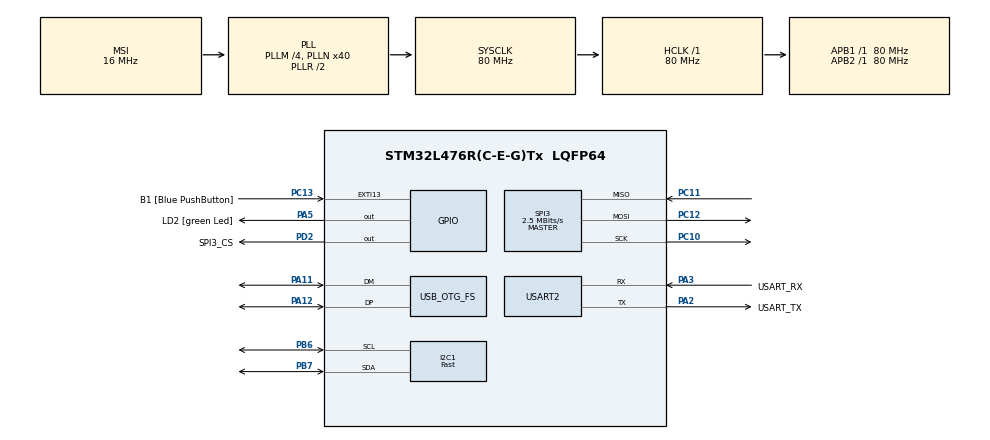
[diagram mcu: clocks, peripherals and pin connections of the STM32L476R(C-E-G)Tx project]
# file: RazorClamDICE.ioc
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I2C1.I2C_Speed_Mode=I2C_Fast
I2C1.Timing=0x00702991
Mcu.Family=STM32L4
Mcu.Name=STM32L476R(C-E-G)Tx
Mcu.Package=LQFP64
NVIC.OTG_FS_IRQn=true\:0\:0\:false\:false\:true
NVIC.PriorityGroup=NVIC_PRIORITYGROUP_4
NVIC.TIM1_UP_TIM16_IRQn=true\:0\:0\:false\:false\:true
NVIC.TimeBase=TIM1_UP_TIM16_IRQn
NVIC.TimeBaseIP=TIM1
PA11.Mode=Device_Only
PA11.Signal=USB_OTG_FS_DM
PA12.Mode=Device_Only
PA12.Signal=USB_OTG_FS_DP
PA13.GPIO_Label=TMS
PA13.Mode=Trace_Asynchronous_SW
PA13.Signal=SYS_JTMS-SWDIO
PA14.GPIO_Label=TCK
PA14.Mode=Trace_Asynchronous_SW
PA14.Signal=SYS_JTCK-SWCLK
PA2.GPIO_Label=USART_TX
PA2.GPIO_Mode=GPIO_MODE_AF_PP
PA2.GPIO_PuPd=GPIO_NOPULL
PA2.GPIO_Speed=GPIO_SPEED_FREQ_VERY_HIGH
PA2.Mode=Asynchronous
PA2.Signal=USART2_TX
PA3.GPIO_Label=USART_RX
PA3.GPIO_Mode=GPIO_MODE_AF_PP
PA3.GPIO_PuPd=GPIO_NOPULL
PA3.GPIO_Speed=GPIO_SPEED_FREQ_VERY_HIGH
PA3.Mode=Asynchronous
PA3.Signal=USART2_RX
PA5.GPIO_Label=LD2 [green Led]
PA5.GPIO_ModeDefaultOutputPP=GPIO_MODE_OUTPUT_PP
PA5.GPIO_PuPd=GPIO_NOPULL
PA5.GPIO_Speed=GPIO_SPEED_FREQ_LOW
PA5.Signal=GPIO_Output
PB3.GPIO_Label=SWO
PB3.Mode=Trace_Asynchronous_SW
PB3.Signal=SYS_JTDO-SWO
PB6.Mode=I2C
PB6.Signal=I2C1_SCL
PB7.Mode=I2C
PB7.Signal=I2C1_SDA
PC10.Mode=Full_Duplex_Master
PC10.Signal=SPI3_SCK
PC11.Mode=Full_Duplex_Master
PC11.Signal=SPI3_MISO
PC12.Mode=Full_Duplex_Master
PC12.Signal=SPI3_MOSI
PC13.GPIO_Label=B1 [Blue PushButton]
PC13.GPIO_ModeDefaultEXTI=GPIO_MODE_IT_FALLING
PC13.GPIO_PuPd=GPIO_PULLUP
PC13.Signal=GPXTI13
PC14/OSC32_IN.Signal=RCC_OSC32_IN
PC15/OSC32_OUT.Signal=RCC_OSC32_OUT
PD2.GPIO_Label=SPI3_CS
PD2.GPIO_PuPd=GPIO_PULLUP
PD2.Signal=GPIO_Output
PH0/OSC_IN.Signal=RCC_OSC_IN
PH1/OSC_OUT.Signal=RCC_OSC_OUT
ProjectManager.HeapSize=0x8000
ProjectManager.StackSize=0x8000
ProjectManager.TargetToolchain=MDK-ARM V5
RCC.ADCFreq_Value=48000000
RCC.AHBFreq_Value=80000000
RCC.APB1Freq_Value=80000000
RCC.APB1TimFreq_Value=80000000
RCC.APB2Freq_Value=80000000
RCC.APB2TimFreq_Value=80000000
RCC.CortexFreq_Value=80000000
RCC.HCLKFreq_Value=80000000
RCC.HSE_VALUE=8000000
RCC.HSI_VALUE=16000000
RCC.LSE_VALUE=32768
RCC.MSIClockRange=RCC_MSIRANGE_8
RCC.MSI_VALUE=16000000
RCC.PLLM=4
RCC.PLLN=40
RCC.PLLSAI1N=24
RCC.PREFETCH_ENABLE=1
RCC.RTCClockSelection=RCC_RTCCLKSOURCE_LSE
RCC.SYSCLKFreq_VALUE=80000000
RCC.SYSCLKSource=RCC_SYSCLKSOURCE_PLLCLK
RCC.USBFreq_Value=48000000
RCC.VCOOutputFreq_Value=160000000
SPI3.BaudRatePrescaler=SPI_BAUDRATEPRESCALER_32
SPI3.CalculateBaudRate=2.5 MBits/s
SPI3.Mode=SPI_MODE_MASTER
USART2.WordLength=UART_WORDLENGTH_8B
USB_DEVICE.CLASS_NAME_FS=DFU
USB_DEVICE.VirtualModeFS=Dfu_FS
USB_OTG_FS.VirtualMode=Device_Only
USB_OTG_FS.vbus_sensing_enable=DISABLE
VP_RNG_VS_RNG.Mode=RNG_Activate
VP_SYS_VS_tim1.Mode=TIM1
VP_USB_DEVICE_VS_USB_DEVICE_DFU_FS.Mode=DFU_FS
board=NUCLEO-L476RG

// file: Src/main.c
/**
  ******************************************************************************
  * File Name          : main.c
  * Description        : Main program body
  ******************************************************************************
  *
  * Copyright (c) 2017 STMicroelectronics International N.V.
  * All rights reserved.
  *
  * Redistribution and use in source and binary forms, with or without
  * modification, are permitted, provided that the following conditions are met:
  *
  * 1. Redistribution of source code must retain the above copyright notice,
  *    this list of conditions and the following disclaimer.
  * 2. Redistributions in binary form must reproduce the above copyright notice,
  *    this list of conditions and the following disclaimer in the documentation
  *    and/or other materials provided with the distribution.
  * 3. Neither the name of STMicroelectronics nor the names of other
  *    contributors to this software may be used to endorse or promote products
  *    derived from this software without specific written permission.
  * 4. This software, including modifications and/or derivative works of this
  *    software, must execute solely and exclusively on microcontroller or
  *    microprocessor devices manufactured by or for STMicroelectronics.
  * 5. Redistribution and use of this software other than as permitted under
  *    this license is void and will automatically terminate your rights under
  *    this license.
  *
  * THIS SOFTWARE IS PROVIDED BY STMICROELECTRONICS AND CONTRIBUTORS "AS IS"
  * AND ANY EXPRESS, IMPLIED OR STATUTORY WARRANTIES, INCLUDING, BUT NOT
  * LIMITED TO, THE IMPLIED WARRANTIES OF MERCHANTABILITY, FITNESS FOR A
  * PARTICULAR PURPOSE AND NON-INFRINGEMENT OF THIRD PARTY INTELLECTUAL PROPERTY
  * RIGHTS ARE DISCLAIMED TO THE FULLEST EXTENT PERMITTED BY LAW. IN NO EVENT
  * SHALL STMICROELECTRONICS OR CONTRIBUTORS BE LIABLE FOR ANY DIRECT, INDIRECT,
  * INCIDENTAL, SPECIAL, EXEMPLARY, OR CONSEQUENTIAL DAMAGES (INCLUDING, BUT NOT
  * LIMITED TO, PROCUREMENT OF SUBSTITUTE GOODS OR SERVICES; LOSS OF USE, DATA,
  * OR PROFITS; OR BUSINESS INTERRUPTION) HOWEVER CAUSED AND ON ANY THEORY OF
  * LIABILITY, WHETHER IN CONTRACT, STRICT LIABILITY, OR TORT (INCLUDING
  * NEGLIGENCE OR OTHERWISE) ARISING IN ANY WAY OUT OF THE USE OF THIS SOFTWARE,
  * EVEN IF ADVISED OF THE POSSIBILITY OF SUCH DAMAGE.
  *
  ******************************************************************************
  */
#include "main.h"
#include "stm32l4xx_hal.h"
#include "usb_device.h"

/* USER CODE BEGIN Includes */
#include <assert.h>
#include "TisTpmDrv.h"
#include "Test.h"
#define RAZORCLAMVERSION "V2.01"
#define SPECIFIC_CYCLE_DELAY (64)
#define DEFAULT_FILE_HANDLE_STDOUT (1)
#define DEFAULT_FILE_HANDLE_STDIN (2)
#define DEFAULT_FILE_HANDLE_STDERR (3)
#define DEFAULT_FILE_HANDLE_WIFI (4)
struct __FILE { int handle; };
/* USER CODE END Includes */

I2C_HandleTypeDef hi2c1;

RNG_HandleTypeDef hrng;

SPI_HandleTypeDef hspi3;

UART_HandleTypeDef huart2;

/* USER CODE BEGIN PV */
/* Private variables ---------------------------------------------------------*/
FILE __stdout = {DEFAULT_FILE_HANDLE_STDOUT};
FILE __stdin = {DEFAULT_FILE_HANDLE_STDIN};
FILE __stderr = {DEFAULT_FILE_HANDLE_STDERR};
FILE __wifi = {DEFAULT_FILE_HANDLE_WIFI};
/* USER CODE END PV */

void SystemClock_Config(void);
void Error_Handler(void);
static void MX_GPIO_Init(void);
static void MX_RNG_Init(void);
static void MX_USART2_UART_Init(void);
static void MX_I2C1_Init(void);
static void MX_SPI3_Init(void);

/* USER CODE BEGIN PFP */
/* Private function prototypes -----------------------------------------------*/

/* USER CODE END PFP */

/* USER CODE BEGIN 0 */
#ifndef NDEBUG
int fputc(int ch, FILE *f)
{
    if((f->handle == DEFAULT_FILE_HANDLE_STDOUT) || (f->handle == DEFAULT_FILE_HANDLE_STDERR))
    {
        while(HAL_UART_Transmit(&huart2, (uint8_t*)&ch, sizeof(uint8_t), HAL_MAX_DELAY) == HAL_BUSY);
        return ch;
    }

    return -1;
}

int fgetc(FILE *f)
{
    if(f->handle == DEFAULT_FILE_HANDLE_STDIN)
    {
        int ch = 0;
        while(HAL_UART_Receive(&huart2, (uint8_t*)&ch, sizeof(uint8_t), HAL_MAX_DELAY) == HAL_BUSY);
        return ch;
    }

    return -1;
}

#endif //#ifndef NDEBUG
void __aeabi_assert(const char *expr, const char *file, int line)
{
    FULLSTOP(expr);
    for(;;);
}
/* USER CODE END 0 */

int main(void)
{

  /* MCU Configuration----------------------------------------------------------*/

  /* Reset of all peripherals, Initializes the Flash interface and the Systick. */
  HAL_Init();

  /* Configure the system clock */
  SystemClock_Config();

  /* Initialize all configured peripherals */
  MX_GPIO_Init();
  MX_RNG_Init();
  MX_USB_DEVICE_Init();
  MX_USART2_UART_Init();
  MX_I2C1_Init();
  MX_SPI3_Init();

  /* USER CODE BEGIN 2 */
  printf("RazorClamDICE, %s built %s %s\r\n", RAZORCLAMVERSION, (char*)&__DATE__, (char*)&__TIME__);
#ifdef TISI2C
#ifdef SPECIFIC_CYCLE_DELAY
  TpmAdjustSpinWait(SPECIFIC_CYCLE_DELAY);
#else
  DebugPrintf("ADD: #define SPECIFIC_CYCLE_DELAY (%d)\r\n", TpmAdjustSpinWait(DETECT_CYCLE_DELAY));
#endif
#endif

  // Make sure we have a TPM, not having one is fatal
  uint32_t retVal = 0;
  if((retVal = DetectTpm()) != HAL_OK)
  {
      FULLSTOP("No TPM found!");
  }
  assert(retVal == HAL_OK);
  DebugPrintf("TPM available and ready.\r\n");

  testme();
  /* USER CODE END 2 */

  /* Infinite loop */
  while (1)
  {

  }

}

/** System Clock Configuration
*/
void SystemClock_Config(void)
{

  RCC_OscInitTypeDef RCC_OscInitStruct;
  RCC_ClkInitTypeDef RCC_ClkInitStruct;
  RCC_PeriphCLKInitTypeDef PeriphClkInit;

    /**Initializes the CPU, AHB and APB busses clocks
    */
  RCC_OscInitStruct.OscillatorType = RCC_OSCILLATORTYPE_MSI;
  RCC_OscInitStruct.MSIState = RCC_MSI_ON;
  RCC_OscInitStruct.MSICalibrationValue = 0;
  RCC_OscInitStruct.MSIClockRange = RCC_MSIRANGE_8;
  RCC_OscInitStruct.PLL.PLLState = RCC_PLL_ON;
  RCC_OscInitStruct.PLL.PLLSource = RCC_PLLSOURCE_MSI;
  RCC_OscInitStruct.PLL.PLLM = 4;
  RCC_OscInitStruct.PLL.PLLN = 40;
  RCC_OscInitStruct.PLL.PLLP = RCC_PLLP_DIV7;
  RCC_OscInitStruct.PLL.PLLQ = RCC_PLLQ_DIV2;
  RCC_OscInitStruct.PLL.PLLR = RCC_PLLR_DIV2;
  if (HAL_RCC_OscConfig(&RCC_OscInitStruct) != HAL_OK)
  {
    Error_Handler();
  }

    /**Initializes the CPU, AHB and APB busses clocks
    */
  RCC_ClkInitStruct.ClockType = RCC_CLOCKTYPE_HCLK|RCC_CLOCKTYPE_SYSCLK
                              |RCC_CLOCKTYPE_PCLK1|RCC_CLOCKTYPE_PCLK2;
  RCC_ClkInitStruct.SYSCLKSource = RCC_SYSCLKSOURCE_PLLCLK;
  RCC_ClkInitStruct.AHBCLKDivider = RCC_SYSCLK_DIV1;
  RCC_ClkInitStruct.APB1CLKDivider = RCC_HCLK_DIV1;
  RCC_ClkInitStruct.APB2CLKDivider = RCC_HCLK_DIV1;

  if (HAL_RCC_ClockConfig(&RCC_ClkInitStruct, FLASH_LATENCY_4) != HAL_OK)
  {
    Error_Handler();
  }

  PeriphClkInit.PeriphClockSelection = RCC_PERIPHCLK_USART2|RCC_PERIPHCLK_I2C1
                              |RCC_PERIPHCLK_USB|RCC_PERIPHCLK_RNG;
  PeriphClkInit.Usart2ClockSelection = RCC_USART2CLKSOURCE_PCLK1;
  PeriphClkInit.I2c1ClockSelection = RCC_I2C1CLKSOURCE_PCLK1;
  PeriphClkInit.UsbClockSelection = RCC_USBCLKSOURCE_PLLSAI1;
  PeriphClkInit.RngClockSelection = RCC_RNGCLKSOURCE_PLLSAI1;
  PeriphClkInit.PLLSAI1.PLLSAI1Source = RCC_PLLSOURCE_MSI;
  PeriphClkInit.PLLSAI1.PLLSAI1M = 4;
  PeriphClkInit.PLLSAI1.PLLSAI1N = 24;
  PeriphClkInit.PLLSAI1.PLLSAI1P = RCC_PLLP_DIV7;
  PeriphClkInit.PLLSAI1.PLLSAI1Q = RCC_PLLQ_DIV2;
  PeriphClkInit.PLLSAI1.PLLSAI1R = RCC_PLLR_DIV2;
  PeriphClkInit.PLLSAI1.PLLSAI1ClockOut = RCC_PLLSAI1_48M2CLK;
  if (HAL_RCCEx_PeriphCLKConfig(&PeriphClkInit) != HAL_OK)
  {
    Error_Handler();
  }

    /**Configure the main internal regulator output voltage
    */
  if (HAL_PWREx_ControlVoltageScaling(PWR_REGULATOR_VOLTAGE_SCALE1) != HAL_OK)
  {
    Error_Handler();
  }

    /**Configure the Systick interrupt time
    */
  HAL_SYSTICK_Config(HAL_RCC_GetHCLKFreq()/1000);

    /**Configure the Systick
    */
  HAL_SYSTICK_CLKSourceConfig(SYSTICK_CLKSOURCE_HCLK);

  /* SysTick_IRQn interrupt configuration */
  HAL_NVIC_SetPriority(SysTick_IRQn, 0, 0);
}

/* I2C1 init function */
static void MX_I2C1_Init(void)
{

  hi2c1.Instance = I2C1;
  hi2c1.Init.Timing = 0x00702991;
  hi2c1.Init.OwnAddress1 = 0;
  hi2c1.Init.AddressingMode = I2C_ADDRESSINGMODE_7BIT;
  hi2c1.Init.DualAddressMode = I2C_DUALADDRESS_DISABLE;
  hi2c1.Init.OwnAddress2 = 0;
  hi2c1.Init.OwnAddress2Masks = I2C_OA2_NOMASK;
  hi2c1.Init.GeneralCallMode = I2C_GENERALCALL_DISABLE;
  hi2c1.Init.NoStretchMode = I2C_NOSTRETCH_DISABLE;
  if (HAL_I2C_Init(&hi2c1) != HAL_OK)
  {
    Error_Handler();
  }

    /**Configure Analogue filter
    */
  if (HAL_I2CEx_ConfigAnalogFilter(&hi2c1, I2C_ANALOGFILTER_ENABLE) != HAL_OK)
  {
    Error_Handler();
  }

}

/* RNG init function */
static void MX_RNG_Init(void)
{

  hrng.Instance = RNG;
  if (HAL_RNG_Init(&hrng) != HAL_OK)
  {
    Error_Handler();
  }

}

/* SPI3 init function */
static void MX_SPI3_Init(void)
{

  hspi3.Instance = SPI3;
  hspi3.Init.Mode = SPI_MODE_MASTER;
  hspi3.Init.Direction = SPI_DIRECTION_2LINES;
  hspi3.Init.DataSize = SPI_DATASIZE_4BIT;
  hspi3.Init.CLKPolarity = SPI_POLARITY_LOW;
  hspi3.Init.CLKPhase = SPI_PHASE_1EDGE;
  hspi3.Init.NSS = SPI_NSS_SOFT;
  hspi3.Init.BaudRatePrescaler = SPI_BAUDRATEPRESCALER_32;
  hspi3.Init.FirstBit = SPI_FIRSTBIT_MSB;
  hspi3.Init.TIMode = SPI_TIMODE_DISABLE;
  hspi3.Init.CRCCalculation = SPI_CRCCALCULATION_DISABLE;
  hspi3.Init.CRCPolynomial = 7;
  hspi3.Init.CRCLength = SPI_CRC_LENGTH_DATASIZE;
  hspi3.Init.NSSPMode = SPI_NSS_PULSE_ENABLE;
  if (HAL_SPI_Init(&hspi3) != HAL_OK)
  {
    Error_Handler();
  }

}

/* USART2 init function */
static void MX_USART2_UART_Init(void)
{

  huart2.Instance = USART2;
  huart2.Init.BaudRate = 115200;
  huart2.Init.WordLength = UART_WORDLENGTH_8B;
  huart2.Init.StopBits = UART_STOPBITS_1;
  huart2.Init.Parity = UART_PARITY_NONE;
  huart2.Init.Mode = UART_MODE_TX_RX;
  huart2.Init.HwFlowCtl = UART_HWCONTROL_NONE;
  huart2.Init.OverSampling = UART_OVERSAMPLING_16;
  huart2.Init.OneBitSampling = UART_ONE_BIT_SAMPLE_DISABLE;
  huart2.AdvancedInit.AdvFeatureInit = UART_ADVFEATURE_NO_INIT;
  if (HAL_UART_Init(&huart2) != HAL_OK)
  {
    Error_Handler();
  }

}

/** Configure pins as
        * Analog
        * Input
        * Output
        * EVENT_OUT
        * EXTI
*/
static void MX_GPIO_Init(void)
{

  GPIO_InitTypeDef GPIO_InitStruct;

  /* GPIO Ports Clock Enable */
  __HAL_RCC_GPIOC_CLK_ENABLE();
  __HAL_RCC_GPIOH_CLK_ENABLE();
  __HAL_RCC_GPIOA_CLK_ENABLE();
  __HAL_RCC_GPIOD_CLK_ENABLE();
  __HAL_RCC_GPIOB_CLK_ENABLE();

  /*Configure GPIO pin Output Level */
  HAL_GPIO_WritePin(LD2_GPIO_Port, LD2_Pin, GPIO_PIN_RESET);

  /*Configure GPIO pin Output Level */
  HAL_GPIO_WritePin(SPI3_CS_GPIO_Port, SPI3_CS_Pin, GPIO_PIN_RESET);

  /*Configure GPIO pin : B1_Pin */
  GPIO_InitStruct.Pin = B1_Pin;
  GPIO_InitStruct.Mode = GPIO_MODE_IT_FALLING;
  GPIO_InitStruct.Pull = GPIO_PULLUP;
  HAL_GPIO_Init(B1_GPIO_Port, &GPIO_InitStruct);

  /*Configure GPIO pin : LD2_Pin */
  GPIO_InitStruct.Pin = LD2_Pin;
  GPIO_InitStruct.Mode = GPIO_MODE_OUTPUT_PP;
  GPIO_InitStruct.Pull = GPIO_NOPULL;
  GPIO_InitStruct.Speed = GPIO_SPEED_FREQ_LOW;
  HAL_GPIO_Init(LD2_GPIO_Port, &GPIO_InitStruct);

  /*Configure GPIO pin : SPI3_CS_Pin */
  GPIO_InitStruct.Pin = SPI3_CS_Pin;
  GPIO_InitStruct.Mode = GPIO_MODE_OUTPUT_PP;
  GPIO_InitStruct.Pull = GPIO_PULLUP;
  GPIO_InitStruct.Speed = GPIO_SPEED_FREQ_LOW;
  HAL_GPIO_Init(SPI3_CS_GPIO_Port, &GPIO_InitStruct);

}

void HAL_TIM_PeriodElapsedCallback(TIM_HandleTypeDef *htim)
{
  if (htim->Instance == TIM1) {
    HAL_IncTick();
  }
}

void Error_Handler(void)
{
  while(1)
  {
  }
}

#ifdef USE_FULL_ASSERT

/**
   * @brief Reports the name of the source file and the source line number
   * where the assert_param error has occurred.
   * @param file: pointer to the source file name
   * @param line: assert_param error line source number
   * @retval None
   */
void assert_failed(uint8_t* file, uint32_t line)
{
  /* USER CODE BEGIN 6 */
  /* User can add his own implementation to report the file name and line number,
    ex: printf("Wrong parameters value: file %s on line %d\r\n", file, line) */
    FullStop((uint8_t*)"ASSERT", NULL, file, line);
  /* USER CODE END 6 */

}

#endif

/************************ (C) COPYRIGHT STMicroelectronics *****END OF FILE****/
